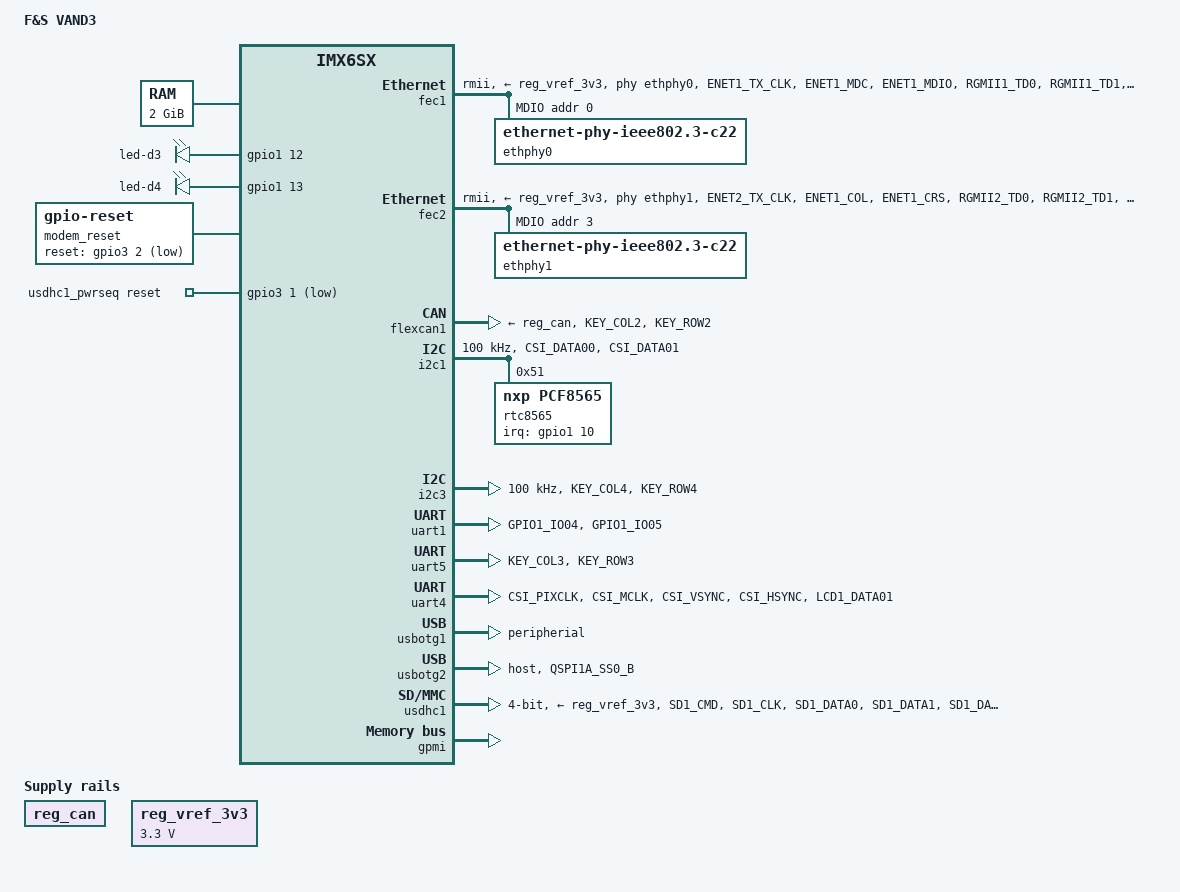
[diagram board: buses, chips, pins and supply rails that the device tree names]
/*
 * Copyright (C) 2021 F&S Elektronik Systeme GmbH
 *
 * This program is free software; you can redistribute it and/or modify
 * it under the terms of the GNU General Public License version 2 as
 * published by the Free Software Foundation.
 */

/dts-v1/;

/* Set board revision as 3-digit number, e.g. 100 for board rev. 1.00 */
#define CONFIG_VAND3_BOARD_REVISION	100

/* CMA: Set 160 MB for Continuous Memory Allocator */
#define CONFIG_VAND3_CMA_SIZE 0x0A000000

/* ETH_A */
#define CONFIG_VAND3_ETH_A
#define CONFIG_VAND3_ETH_B

/* WLAN/BLUETOOTH; either WLAN-only or combined WLAN/Bluetooth chip */
#define CONFIG_VAND3_WLAN
#define CONFIG_VAND3_BLUETOOTH

/* USB - USB HOST has over-current detection on OC pin
 * Both USB ports are host only.
 */
#define CONFIG_VAND3_USB_OTG1
#define CONFIG_VAND3_USB_HOST
#define CONFIG_VAND3_USB_HOST_OC

/* CAN_A on J9 pins 1/3 */
#define CONFIG_VAND3_CAN_A

/* I2C */
#define CONFIG_VAND3_I2C_A
#define CONFIG_VAND3_I2C_B

/* UART_A TXD/RXD on J11 pins 3/5 */
#define CONFIG_VAND3_UART_A

/* UART_B TXD/RXD on J12 pins 3/4 */
#define CONFIG_VAND3_UART_B

#include "imx6sx.dtsi"

/ {
	model = "F&S VAND3";
	compatible = "fus,imx6sx-vand3", "fsl,imx6sx";

 	aliases {
 		nand = &gpmi;
 	};

	memory {
		reg = <0x80000000 0x80000000>;
	};

	gpioleds {
		compatible = "gpio-leds";
		pinctrl-names = "default";
		pinctrl-0 = <&pinctrl_led>;

		d3-led {
			label = "led-d3";
			gpios = <&gpio1 12 GPIO_ACTIVE_HIGH>;
			default-state = "keep";
		};

		d4-led {
			label = "led-d4";
			gpios = <&gpio1 13 GPIO_ACTIVE_HIGH>;
			default-state = "keep";
		};
	};

	pxp_v4l2_out {
		compatible = "fsl,imx6sx-pxp-v4l2", "fsl,imx6sl-pxp-v4l2";
		status = "okay";
	};

	regulators {
		compatible = "simple-bus";

		reg_can: regulator_can {
			compatible = "regulator-fixed";
			regulator-name = "can";
		};

		reg_vref_3v3: regulator@0 {
			compatible = "regulator-fixed";
			regulator-name = "vref-3v3";
			regulator-min-microvolt = <3300000>;
			regulator-max-microvolt = <3300000>;
		};

		/* USB_OTG2_PWR done by USB controller, no regulator needed */
#if 0 //###
		reg_usb_otg2_vbus: usb_otg2_vbus {
			compatible = "regulator-fixed";
			regulator-name = "usb_otg2_vbus";
			regulator-min-microvolt = <5000000>;
			regulator-max-microvolt = <5000000>;
			gpio = <&gpio4 22 0>;
			enable-active-high;
		};
#endif //###
	};

	modem_reset: modem-reset {
		compatible = "gpio-reset";
		reset-gpios = <&gpio3 2 GPIO_ACTIVE_LOW>;
		reset-delay-us = <1000>;
		#reset-cells = <0>;
	};

	usdhc1_pwrseq: usdhc1_pwrseq {
		compatible = "mmc-pwrseq-simple";
		reset-gpios = <&gpio3 1 GPIO_ACTIVE_LOW>;
	};

	/* F&S board information */
	bdinfo {
		compatible = "bdinfo";
		board_name = "vand3";
		ecc_strength = "8";
	};
};

/* RAM size for Continues Memory Allocator */
&cma {
	size = <CONFIG_VAND3_CMA_SIZE>;
};

&busfreq {
	/* Disable bus frequency scaling, because reducing bus frequency to
	   24 MHz does not work with all types of DDR3 RAM */
	disable-scaling;
};

#ifdef CONFIG_VAND3_ETH_A
&fec1 {
	pinctrl-names = "default";
	pinctrl-0 = <&pinctrl_enet1>;

	assigned-clocks = <&clks IMX6SX_CLK_ENET_REF>;
	assigned-clock-rates = <50000000>;

	phy-mode = "rmii";
	phy-handle = <&ethphy0>;
	phy-supply = <&reg_vref_3v3>;
	phy-reset-gpios = <&gpio5 8 GPIO_ACTIVE_LOW>;
	phy-reset-duration = <11>; /* millisecond */
	fsl,magic-packet;
	fsl,ref-clock-out;

	status = "okay";

	mdio {
		#address-cells = <1>;
		#size-cells = <0>;

		ethphy0: ethernet-phy@0 {
			compatible = "ethernet-phy-ieee802.3-c22";
			reg = <0>;
		};
	};
};
#endif

#ifdef CONFIG_VAND3_ETH_B
&fec2 {
	pinctrl-names = "default";
	pinctrl-0 = <&pinctrl_enet2>;

	assigned-clocks = <&clks IMX6SX_CLK_ENET2_REF>;
	assigned-clock-rates = <50000000>;

	phy-mode = "rmii";
	phy-handle = <&ethphy1>;
	phy-supply = <&reg_vref_3v3>;
	phy-reset-gpios = <&gpio5 20 GPIO_ACTIVE_LOW>;
	phy-reset-duration = <11>; /* millisecond */
	fsl,magic-packet;
	fsl,ref-clock-out;

	status = "okay";

	mdio {
		#address-cells = <1>;
		#size-cells = <0>;

		ethphy1: ethernet-phy@3 {
			compatible = "ethernet-phy-ieee802.3-c22";
			reg = <3>;
		};
	};
};
#endif

#ifdef CONFIG_VAND3_CAN_A
&flexcan1 {
	pinctrl-names = "default";
	pinctrl-0 = <&pinctrl_flexcan1>;
	xceiver-supply = <&reg_can>;
	status = "okay";
};
#endif

#ifdef CONFIG_VAND3_I2C_A
/* I2C1 to RTC */
&i2c1 {
	clock-frequency = <100000>;
	pinctrl-names = "default";
	pinctrl-0 = <&pinctrl_i2c1>;
	status = "okay";

	rtc8565@51 {
		compatible = "nxp,pcf8565", "nxp,pcf8563";
		reg = <0x51>;
		interrupt-parent = <&gpio1>;
		interrupts = <10 IRQ_TYPE_EDGE_FALLING>;
	};
};
#endif

#ifdef CONFIG_VAND3_I2C_B
&i2c3 {
	clock-frequency = <100000>;
	pinctrl-names = "default";
	pinctrl-0 = <&pinctrl_i2c3>;
	status = "okay";
};
#endif

/* UART_A */
#ifdef CONFIG_VAND3_UART_A
&uart1 {
	pinctrl-names = "default";
	pinctrl-0 = <&pinctrl_uart1>;
	disable-dtrd;
	status = "okay";
};
#endif

/* UART_B */
#ifdef CONFIG_VAND3_UART_B
&uart5 {
	pinctrl-names = "default";
	pinctrl-0 = <&pinctrl_uart5>;
	status = "okay";
};
#endif

/* CONFIG_VAND3_BLUETOOTH */
#ifdef CONFIG_VAND3_BLUETOOTH
&uart4 {
	pinctrl-names = "default";
	pinctrl-0 = <&pinctrl_uart4>;
	uart-has-rtscts;
	resets = <&modem_reset>;
	status = "okay";
};
#endif

/* USB OTG1 always host */
#ifdef CONFIG_VAND3_USB_OTG1
&usbotg1 {
	dr_mode = "peripherial";
	disable-over-current;
	status = "okay";
};
#endif

/* USB host */
#ifdef CONFIG_VAND3_USB_HOST
&usbotg2 {
	pinctrl-names = "default";
	pinctrl-0 = <&pinctrl_usbotg2>;
//###	vbus-supply = <&reg_usb_otg2_vbus>;
	dr_mode = "host";
	pwr-active-high;
	status = "okay";
};
#endif

#ifdef CONFIG_VAND3_WLAN
/* On-board WLAN implemented via USDHC1 */
&usdhc1 {
	pinctrl-names = "default";
	pinctrl-0 = <&pinctrl_usdhc1_wlan>;
	bus-width = <4>;
	//non-removable;
	cd-gpios = <&gpio1 2 GPIO_ACTIVE_LOW>;
	vmmc-supply = <&reg_vref_3v3>;
	vqmmc-supply = <&reg_vref_3v3>;
	voltage-ranges = <3300 3300>;
	no-1-8-v;
	mmc-pwrseq = <&usdhc1_pwrseq>;
	keep-power-in-suspend;
	enable-sdio-wakeup;
	status = "okay";
};
#endif

&dma_apbh {
	/* Switch to F&S implementation of APBH DMA driver for GPMI (NAND) */
	compatible = "fus,imx6sx-dma-apbh", "fus,imx28-dma-apbh";
	iram = <&ocram>;
};

&gpmi {
	/* Switch to F&S implementation of GPMI NAND driver */
	compatible = "fus,imx6sx-gpmi-nand";
	pinctrl-names = "default";
	fus,skipblocks = <2>;
	fus,chunk1k;
	fus,ecc_strength = <8>;		/* Spare area 64 bytes */
//###	fus,ecc_strength = <52>;	/* Spare area 224 bytes */
	status = "okay";
};

&iomuxc {
	pinctrl-names = "default";
	pinctrl-0 = <&pinctrl_hog>;

 	vand3 {
		pinctrl_hog: hoggrp {
			fsl,pins = <
				/* RTC IRQ */
				MX6SX_PAD_GPIO1_IO10__GPIO1_IO_10	0x1b0b0
				/* DVS */
				MX6SX_PAD_GPIO1_IO03__GPIO1_IO_3	0x130b0
			>;
		};

#ifdef CONFIG_VAND3_ETH_A
		pinctrl_enet1: enet1grp {
			fsl,pins = <
				/* 50MHz base clock from CPU to PHY */
				MX6SX_PAD_ENET1_TX_CLK__ENET1_REF_CLK1	0x400000a1
				/* MDIO */
				MX6SX_PAD_ENET1_MDC__ENET1_MDC		0x0a0b1
				MX6SX_PAD_ENET1_MDIO__ENET1_MDIO	0x0a0b1
				/* FEC1 */
				MX6SX_PAD_RGMII1_TD0__ENET1_TX_DATA_0	0x0a0b1
				MX6SX_PAD_RGMII1_TD1__ENET1_TX_DATA_1	0x0a0b1
				MX6SX_PAD_RGMII1_TX_CTL__ENET1_TX_EN	0x0a0b1
				MX6SX_PAD_RGMII1_RXC__ENET1_RX_ER	0x03081
				MX6SX_PAD_RGMII1_RD0__ENET1_RX_DATA_0	0x03081
				MX6SX_PAD_RGMII1_RD1__ENET1_RX_DATA_1	0x03081
				MX6SX_PAD_RGMII1_RX_CTL__ENET1_RX_EN	0x03081
				/* PHY1 RSTn */
				MX6SX_PAD_RGMII1_TD2__GPIO5_IO_8	0x0a0b1
				/* PHY1 INTn */
				MX6SX_PAD_RGMII1_TD3__GPIO5_IO_9	0x000b0
			>;
		};
#endif

#ifdef CONFIG_VAND3_ETH_B
		pinctrl_enet2: enet2grp {
			fsl,pins = <
				/* 50MHz base clock from CPU to PHY */
				MX6SX_PAD_ENET2_TX_CLK__ENET2_REF_CLK2	0x400000a1
				/* MDIO */
				MX6SX_PAD_ENET1_COL__ENET2_MDC		0x0a0b1
				MX6SX_PAD_ENET1_CRS__ENET2_MDIO		0x0a0b1
				/* fec2 */
				MX6SX_PAD_RGMII2_TD0__ENET2_TX_DATA_0	0x0a0b1
				MX6SX_PAD_RGMII2_TD1__ENET2_TX_DATA_1	0x0a0b1
				MX6SX_PAD_RGMII2_TX_CTL__ENET2_TX_EN	0x0a0b1
				MX6SX_PAD_RGMII2_RD0__ENET2_RX_DATA_0	0x03081
				MX6SX_PAD_RGMII2_RD1__ENET2_RX_DATA_1	0x03081
				MX6SX_PAD_RGMII2_RXC__ENET2_RX_ER	0x03081
				MX6SX_PAD_RGMII2_RX_CTL__ENET2_RX_EN	0x03081
				/* PHY2 RSTn */
				MX6SX_PAD_RGMII2_TD2__GPIO5_IO_20	0x0a0b1
				/* PHY2 INTn */
				MX6SX_PAD_RGMII2_TD3__GPIO5_IO_21	0x000b0
			>;
		};
#endif

		pinctrl_led: ledgrp {
			fsl,pins = <
				MX6SX_PAD_GPIO1_IO12__GPIO1_IO_12	0x130b0
				MX6SX_PAD_GPIO1_IO13__GPIO1_IO_13 	0x130b0
			>;
		};


#ifdef CONFIG_VAND3_CAN_A
		pinctrl_flexcan1: flexcan1grp {
			fsl,pins = <
				MX6SX_PAD_KEY_COL2__CAN1_TX		0x1b020
				MX6SX_PAD_KEY_ROW2__CAN1_RX		0x1b020
			>;
		};
#endif

#ifdef CONFIG_VAND3_I2C_A
		pinctrl_i2c1: i2c1grp {
			fsl,pins = <
				MX6SX_PAD_CSI_DATA00__I2C1_SCL		0x4001b8b1
				MX6SX_PAD_CSI_DATA01__I2C1_SDA		0x4001b8b1
			>;
		};
#endif

#ifdef CONFIG_VAND3_I2C_B
		pinctrl_i2c3: i2c3grp {
			fsl,pins = <
				MX6SX_PAD_KEY_COL4__I2C3_SCL		0x4001b8b1
				MX6SX_PAD_KEY_ROW4__I2C3_SDA		0x4001b8b1
			>;
		};
#endif

#ifdef CONFIG_VAND3_UART_A
		pinctrl_uart1: uart1grp {
			fsl,pins = <
				MX6SX_PAD_GPIO1_IO04__UART1_TX		0x1b0b1
				MX6SX_PAD_GPIO1_IO05__UART1_RX		0x1b0b1
			>;
		};
#endif

#ifdef CONFIG_VAND3_UART_B
		pinctrl_uart5: uart5grp {
			fsl,pins = <
				MX6SX_PAD_KEY_COL3__UART5_TX		0x1b0b1
				MX6SX_PAD_KEY_ROW3__UART5_RX		0x1b0b1
			>;
		};
#endif

#ifdef CONFIG_VAND3_BLUETOOTH
		pinctrl_uart4: uart4grp {
			fsl,pins = <
				MX6SX_PAD_CSI_PIXCLK__UART4_TX		0x1b0b1
				MX6SX_PAD_CSI_MCLK__UART4_RX		0x1b0b1
				MX6SX_PAD_CSI_VSYNC__UART4_CTS_B	0x1b0b1
				MX6SX_PAD_CSI_HSYNC__UART4_RTS_B	0x1b0b1
				/* BT_PWD_L */
				MX6SX_PAD_LCD1_DATA01__GPIO3_IO_2	0x1b0b0
			>;
		};
#endif

#ifdef CONFIG_VAND3_USB_HOST
		pinctrl_usbotg2: usbotg2grp {
			fsl,pins = <
				/* USB_OTG2_PWR, active high */
//###				MX6SX_PAD_QSPI1A_SS0_B__GPIO4_IO_22	0x03030
				MX6SX_PAD_QSPI1A_SS0_B__USB_OTG2_PWR	0x03030
			>;
		};
#endif

#ifdef CONFIG_VAND3_WLAN
		/* On-board WLAN */
		pinctrl_usdhc1_wlan: usdhc1grp-wlan {
			fsl,pins = <
				MX6SX_PAD_SD1_CMD__USDHC1_CMD		0x17091
				MX6SX_PAD_SD1_CLK__USDHC1_CLK		0x10091
				MX6SX_PAD_SD1_DATA0__USDHC1_DATA0	0x17091
				MX6SX_PAD_SD1_DATA1__USDHC1_DATA1	0x17091
				MX6SX_PAD_SD1_DATA2__USDHC1_DATA2	0x17091
				MX6SX_PAD_SD1_DATA3__USDHC1_DATA3	0x17091
				/* WLAN_PWD_L */
				MX6SX_PAD_LCD1_DATA00__GPIO3_IO_1	0x1b0b0
				/* CD */
				MX6SX_PAD_GPIO1_IO02__GPIO1_IO_2	0x17000
			>;
		};
#endif
	};
};
